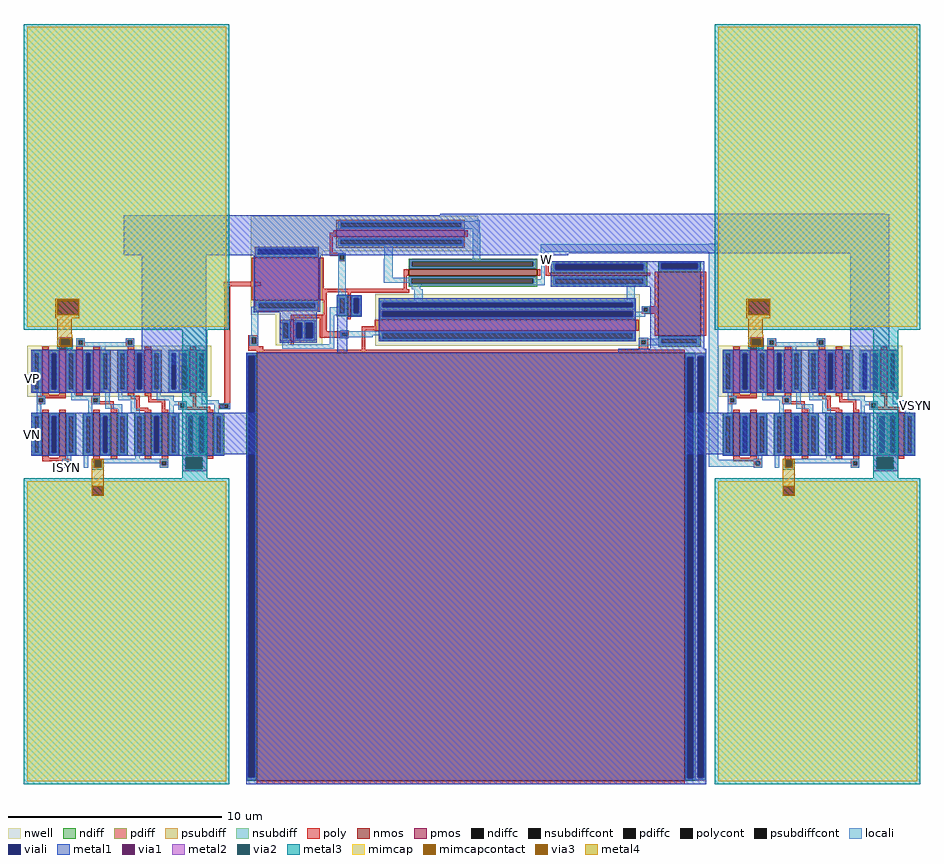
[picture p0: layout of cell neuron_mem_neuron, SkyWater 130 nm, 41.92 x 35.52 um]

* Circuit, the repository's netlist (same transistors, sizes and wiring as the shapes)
* NGSPICE file created from neuron_mem_neuron.ext - technology: sky130A

.subckt memristor_emulator_res W VN B A VP
X0 VN B a_n80_4020# VN sky130_fd_pr__nfet_01v8 ad=1 pd=5 as=1 ps=5 w=2 l=3
X1 VN a_n80_4020# VN VN sky130_fd_pr__nfet_01v8 ad=10 pd=41 as=23.8 ps=100 w=20 l=20
X2 VP A a_n80_4020# VP sky130_fd_pr__pfet_01v8 ad=1.5 pd=7 as=1.5 ps=7 w=3 l=2
X3 B a_n80_4020# A B sky130_fd_pr__pfet_01v8 ad=6 pd=25 as=6 ps=25 w=12 l=0.5
X4 VP A a_218_4108# VP sky130_fd_pr__pfet_01v8 ad=0.5 pd=3 as=0.5 ps=3 w=1 l=0.15
X5 a_742_5144# A B VN sky130_fd_pr__nfet_01v8 ad=3 pd=13 as=3 ps=13 w=6 l=0.3
X6 a_742_5144# a_218_4108# B VP sky130_fd_pr__pfet_01v8 ad=3 pd=13 as=3 ps=13 w=6 l=0.3
X7 VN A a_218_4108# VN sky130_fd_pr__nfet_01v8 ad=0.5 pd=3 as=0.5 ps=3 w=1 l=0.15
X8 VN W B VN sky130_fd_pr__nfet_01v8 ad=2.25 pd=10 as=2.25 ps=10 w=4.5 l=0.15
.ends

.subckt neuron VP VN ISYN VSYN CMEM CRST a_n150_n600#
X0 VN a_270_n40# CRST VN sky130_fd_pr__nfet_01v8 ad=0.5 pd=2.5 as=1 ps=5 w=2 l=0.3
X1 VP a_270_n40# CMEM VP sky130_fd_pr__pfet_01v8 ad=0.5 pd=2.5 as=0.5 ps=2.5 w=2 l=0.3
X2 a_970_n10# CRST VP VP sky130_fd_pr__pfet_01v8 ad=1 pd=5 as=0.5 ps=2.5 w=2 l=0.3
X3 CMEM a_n150_n600# VP VP sky130_fd_pr__pfet_01v8 ad=0.5 pd=2.5 as=0.5 ps=2.5 w=2 l=0.3
X4 VSYN a_970_n10# VN VN sky130_fd_pr__nfet_01v8 ad=1 pd=5 as=1 ps=5 w=2 l=0.3
X5 VP a_270_n40# CRST VP sky130_fd_pr__pfet_01v8 ad=0.5 pd=2.5 as=1 ps=5 w=2 l=0.3
X6 VSYN a_970_n10# VP VP sky130_fd_pr__pfet_01v8 ad=1 pd=5 as=1 ps=5 w=2 l=0.3
X7 VP a_n150_n600# a_n150_n600# VP sky130_fd_pr__pfet_01v8 ad=0.5 pd=2.5 as=1 ps=5 w=2 l=0.3
X8 a_270_n40# CMEM VN VN sky130_fd_pr__nfet_01v8 ad=1 pd=5 as=0.5 ps=2.5 w=2 l=0.3
X9 VN CRST CMEM VN sky130_fd_pr__nfet_01v8 ad=0.5 pd=2.5 as=1 ps=5 w=2 l=0.3
X10 VN ISYN a_n150_n600# VN sky130_fd_pr__nfet_01v8 ad=0.5 pd=2.5 as=1 ps=5 w=2 l=0.3
X11 a_270_n40# CMEM VP VP sky130_fd_pr__pfet_01v8 ad=1 pd=5 as=0.5 ps=2.5 w=2 l=0.3
X12 ISYN ISYN VN VN sky130_fd_pr__nfet_01v8 ad=1 pd=5 as=0.5 ps=2.5 w=2 l=0.3
X13 a_970_n10# CRST VN VN sky130_fd_pr__nfet_01v8 ad=1 pd=5 as=0.5 ps=2.5 w=2 l=0.3
.ends

.subckt neuron_top VSYN ISYN VN VP
Xneuron_0 VP VN ISYN VSYN neuron_0/CMEM neuron_0/CRST li_50_880# neuron
X0 neuron_0/CMEM VN sky130_fd_pr__cap_mim_m3_1 l=14 w=9.3
X1 neuron_0/CRST VN sky130_fd_pr__cap_mim_m3_1 l=14 w=9.3
.ends


Xmemristor_emulator_res_0 W VN neuron_top_1/ISYN neuron_top_0/VSYN VP memristor_emulator_res
Xneuron_top_0 neuron_top_0/VSYN ISYN VN VP neuron_top
Xneuron_top_1 VSYN neuron_top_1/ISYN VN VP neuron_top

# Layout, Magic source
magic
tech sky130A
<< poly >>
rect 2440 2450 2455 2452
rect 936 2326 1109 2348
rect 939 1780 966 2326
rect 912 1774 966 1780
rect 912 1757 920 1774
rect 956 1757 966 1774
rect 912 1752 966 1757
<< polycont >>
rect 920 1757 956 1774
<< locali >>
rect 3203 2523 3247 2524
rect 2418 2487 3247 2523
rect 2419 2359 2436 2487
rect 2394 2330 2436 2359
rect 912 1774 965 1780
rect 912 1757 920 1774
rect 956 1757 965 1774
rect 912 1752 965 1757
rect 3203 1515 3247 2487
rect 4165 1761 4167 1770
rect 3202 1483 3452 1515
rect 197 1479 204 1481
<< metal1 >>
rect 1947 2663 4024 2666
rect 1947 2658 4045 2663
rect 468 2480 4045 2658
rect 468 2472 2545 2480
rect 553 1960 855 2472
rect 42 1892 45 1896
rect 3864 1838 4045 2480
rect 42 1632 44 1636
rect 889 1540 4047 1734
use memristor_emulator_res  memristor_emulator_res_0
transform 1 0 1090 0 1 15
box -100 -15 2100 2641
use neuron_top  neuron_top_0
transform 1 0 17 0 1 1479
box -17 -1479 945 2073
use neuron_top  neuron_top_1
transform 1 0 3247 0 1 1479
box -17 -1479 945 2073
<< labels >>
rlabel metal1 42 1633 42 1633 1 VN
port 1 n
rlabel metal1 42 1893 42 1893 1 VP
port 2 n
rlabel locali 199 1480 199 1480 1 ISYN
port 3 n
rlabel poly 2444 2452 2444 2452 1 W
port 4 n
rlabel locali 4167 1768 4167 1768 1 VSYN
port 5 n
<< end >>

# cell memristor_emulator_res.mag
magic
tech sky130A
<< nwell >>
rect -27 2513 1035 2641
rect -28 2474 1035 2513
rect -28 2177 308 2474
rect 89 2036 307 2177
rect 554 2034 1790 2274
<< nmos >>
rect 710 2360 1310 2390
rect 1375 2360 1825 2375
rect 425 2170 440 2270
rect 1876 2079 2076 2379
rect 0 0 2000 2000
<< pmos >>
rect 371 2542 971 2572
rect -10 2245 290 2445
rect 159 2054 174 2154
rect 572 2104 1772 2154
<< ndiff >>
rect 710 2428 1310 2440
rect 710 2403 724 2428
rect 1293 2403 1310 2428
rect 710 2390 1310 2403
rect 1375 2413 1825 2425
rect 1375 2389 1395 2413
rect 1807 2389 1825 2413
rect 1375 2375 1825 2389
rect 1876 2419 2076 2429
rect 1876 2393 1890 2419
rect 2061 2393 2076 2419
rect 1876 2379 2076 2393
rect 710 2348 1310 2360
rect 710 2323 723 2348
rect 1292 2323 1310 2348
rect 710 2310 1310 2323
rect 1375 2347 1825 2360
rect 1375 2323 1395 2347
rect 1807 2323 1825 2347
rect 1375 2310 1825 2323
rect 375 2256 425 2270
rect 375 2184 388 2256
rect 412 2184 425 2256
rect 375 2170 425 2184
rect 440 2256 490 2270
rect 440 2184 453 2256
rect 477 2184 490 2256
rect 440 2170 490 2184
rect 1876 2066 2076 2079
rect 1876 2045 1890 2066
rect 2057 2045 2076 2066
rect 1876 2029 2076 2045
rect -50 1983 0 2000
rect -50 16 -38 1983
rect -10 16 0 1983
rect -50 0 0 16
rect 2000 1980 2050 2000
rect 2000 13 2012 1980
rect 2040 13 2050 1980
rect 2000 0 2050 13
<< pdiff >>
rect 371 2608 971 2622
rect 371 2588 393 2608
rect 955 2588 971 2608
rect 371 2572 971 2588
rect -10 2485 290 2495
rect -10 2460 5 2485
rect 275 2460 290 2485
rect -10 2445 290 2460
rect 371 2528 971 2542
rect 371 2508 390 2528
rect 957 2508 971 2528
rect 371 2492 971 2508
rect -10 2233 290 2245
rect -10 2208 10 2233
rect 274 2208 290 2233
rect -10 2195 290 2208
rect 572 2194 1772 2204
rect 109 2140 159 2154
rect 109 2068 125 2140
rect 148 2068 159 2140
rect 109 2054 159 2068
rect 174 2141 224 2154
rect 174 2068 185 2141
rect 213 2068 224 2141
rect 572 2169 587 2194
rect 1757 2169 1772 2194
rect 572 2154 1772 2169
rect 174 2054 224 2068
rect 572 2092 1772 2104
rect 572 2067 587 2092
rect 1757 2067 1772 2092
rect 572 2054 1772 2067
<< ndiffc >>
rect 724 2403 1293 2428
rect 1395 2389 1807 2413
rect 1890 2393 2061 2419
rect 723 2323 1292 2348
rect 1395 2323 1807 2347
rect 388 2184 412 2256
rect 453 2184 477 2256
rect 1890 2045 2057 2066
rect -38 16 -10 1983
rect 2012 13 2040 1980
<< pdiffc >>
rect 393 2588 955 2608
rect 5 2460 275 2485
rect 390 2508 957 2528
rect 10 2208 274 2233
rect 125 2068 148 2140
rect 185 2068 213 2141
rect 587 2169 1757 2194
rect 587 2067 1757 2092
<< psubdiff >>
rect 2050 1985 2100 2000
rect 2050 15 2060 1985
rect 2090 15 2100 1985
rect 2050 0 2100 15
<< nsubdiff >>
rect 572 2234 1772 2255
rect 572 2213 587 2234
rect 1757 2213 1772 2234
rect 572 2204 1772 2213
rect 224 2141 274 2154
rect 224 2068 230 2141
rect 261 2068 274 2141
rect 224 2054 274 2068
<< psubdiffcont >>
rect 2060 15 2090 1985
<< nsubdiffcont >>
rect 587 2213 1757 2234
rect 230 2068 261 2141
<< poly >>
rect 358 2561 371 2572
rect 340 2542 371 2561
rect 971 2542 985 2572
rect 340 2468 355 2542
rect 340 2460 417 2468
rect 340 2453 389 2460
rect -23 2245 -10 2445
rect 290 2299 313 2445
rect 381 2436 389 2453
rect 409 2436 417 2460
rect 381 2428 417 2436
rect 687 2360 710 2390
rect 1310 2360 1324 2390
rect 1350 2375 1365 2437
rect 1350 2360 1375 2375
rect 1825 2360 1838 2375
rect 687 2299 702 2360
rect 290 2298 702 2299
rect 290 2283 712 2298
rect 290 2245 327 2283
rect 425 2282 712 2283
rect 425 2270 440 2282
rect 312 2177 327 2245
rect 159 2167 327 2177
rect 1861 2219 1876 2379
rect 159 2162 328 2167
rect 159 2154 174 2162
rect -40 2073 7 2083
rect -40 2043 -24 2073
rect -2 2043 7 2073
rect 295 2100 328 2162
rect 425 2157 440 2170
rect 1799 2211 1876 2219
rect 1799 2193 1808 2211
rect 1828 2193 1876 2211
rect 1799 2183 1876 2193
rect 551 2125 572 2154
rect 490 2105 572 2125
rect 390 2100 430 2105
rect 295 2095 430 2100
rect 295 2078 398 2095
rect 422 2078 430 2095
rect 295 2071 430 2078
rect 390 2069 430 2071
rect -40 2030 7 2043
rect 159 2038 174 2054
rect -40 2015 30 2030
rect 490 2015 508 2105
rect 551 2104 572 2105
rect 1772 2104 1785 2154
rect 1861 2104 1876 2183
rect 1860 2080 1876 2104
rect 1861 2079 1876 2080
rect 2076 2079 2100 2379
rect 1785 2058 1830 2070
rect 1785 2041 1796 2058
rect 1818 2041 1830 2058
rect 1785 2015 1830 2041
rect -40 2010 2000 2015
rect 0 2000 2000 2010
rect 0 -15 2000 0
<< polycont >>
rect 389 2436 409 2460
rect -24 2043 -2 2073
rect 1808 2193 1828 2211
rect 398 2078 422 2095
rect 1796 2041 1818 2058
<< locali >>
rect 1020 2615 1043 2619
rect 380 2608 1043 2615
rect 380 2588 393 2608
rect 955 2588 1043 2608
rect 380 2580 1043 2588
rect 1010 2557 1043 2580
rect 380 2528 965 2535
rect 380 2508 390 2528
rect 957 2508 965 2528
rect 380 2500 965 2508
rect -5 2485 285 2491
rect -5 2460 5 2485
rect 275 2460 285 2485
rect -5 2450 285 2460
rect 381 2460 416 2468
rect 381 2436 389 2460
rect 409 2436 416 2460
rect 595 2439 635 2500
rect 381 2265 416 2436
rect 594 2351 636 2439
rect 1010 2435 1044 2557
rect 715 2428 1305 2435
rect 715 2403 724 2428
rect 1293 2403 1305 2428
rect 1882 2419 2070 2423
rect 715 2395 1305 2403
rect 1385 2414 1815 2418
rect 1385 2389 1395 2414
rect 1807 2389 1815 2414
rect 1385 2382 1815 2389
rect 1882 2393 1890 2419
rect 2061 2393 2070 2419
rect 1882 2385 2070 2393
rect 715 2351 1305 2355
rect 594 2348 1305 2351
rect 594 2328 723 2348
rect 715 2323 723 2328
rect 1292 2323 1305 2348
rect 715 2315 1305 2323
rect 1385 2347 1815 2353
rect 1385 2323 1395 2347
rect 1807 2323 1815 2347
rect 1385 2317 1815 2323
rect 725 2298 765 2315
rect 380 2256 420 2265
rect -5 2233 285 2240
rect -5 2215 10 2233
rect -25 2208 10 2215
rect 274 2208 285 2233
rect 380 2214 388 2256
rect -25 2200 285 2208
rect -25 2083 7 2200
rect 340 2184 388 2214
rect 412 2184 420 2256
rect 340 2176 420 2184
rect -35 2073 7 2083
rect -35 2043 -24 2073
rect -2 2043 7 2073
rect -35 2033 7 2043
rect 119 2140 154 2149
rect 119 2068 125 2140
rect 148 2068 154 2140
rect 119 2059 154 2068
rect 179 2141 269 2149
rect 179 2068 185 2141
rect 213 2068 230 2141
rect 261 2068 269 2141
rect 179 2059 269 2068
rect 119 2040 150 2059
rect 340 2040 363 2176
rect 380 2175 420 2176
rect 445 2256 485 2265
rect 445 2184 453 2256
rect 477 2184 485 2256
rect 735 2244 775 2298
rect 1730 2244 1767 2317
rect 577 2234 1767 2244
rect 577 2213 587 2234
rect 1757 2213 1767 2234
rect 577 2201 1767 2213
rect 445 2175 485 2184
rect 578 2194 1767 2201
rect 578 2168 587 2194
rect 1757 2193 1767 2194
rect 1799 2211 1837 2219
rect 1799 2193 1808 2211
rect 1828 2193 1837 2211
rect 1757 2184 1837 2193
rect 1757 2169 1815 2184
rect 1757 2168 1767 2169
rect 578 2159 1767 2168
rect 390 2100 430 2105
rect 390 2099 580 2100
rect 390 2095 1767 2099
rect 390 2078 398 2095
rect 422 2092 1767 2095
rect 422 2082 587 2092
rect 422 2078 542 2082
rect 390 2072 542 2078
rect 390 2069 430 2072
rect 577 2067 587 2082
rect 1757 2067 1767 2092
rect 577 2059 1767 2067
rect 1785 2065 1830 2070
rect 1881 2066 2068 2075
rect 1881 2065 1890 2066
rect 119 2020 363 2040
rect 1785 2058 1890 2065
rect 1785 2041 1796 2058
rect 1818 2045 1890 2058
rect 2057 2045 2068 2066
rect 1818 2041 2068 2045
rect 1785 2035 2068 2041
rect 1785 2030 1830 2035
rect -45 1986 -5 1995
rect -45 16 -40 1986
rect -10 16 -5 1986
rect -45 5 -5 16
rect 2005 1985 2095 1995
rect 2005 1980 2060 1985
rect 2005 13 2012 1980
rect 2040 15 2060 1980
rect 2090 15 2095 1985
rect 2040 13 2095 15
rect 2005 5 2095 13
<< viali >>
rect 5 2460 275 2485
rect 1395 2413 1807 2414
rect 1395 2389 1807 2413
rect 1890 2393 2061 2419
rect 185 2068 211 2141
rect 230 2068 261 2141
rect 453 2184 477 2256
rect 587 2213 1757 2234
rect 587 2169 1757 2194
rect 587 2168 1757 2169
rect -40 1983 -10 1986
rect -40 16 -38 1983
rect -38 16 -10 1983
rect 2012 13 2040 1980
rect 2060 15 2090 1985
<< metal1 >>
rect 234 2639 989 2641
rect -10 2495 989 2639
rect -13 2485 989 2495
rect -13 2460 5 2485
rect 275 2481 989 2485
rect 275 2460 298 2481
rect -13 2446 298 2460
rect -13 2192 297 2446
rect 1375 2419 2091 2429
rect 1375 2414 1890 2419
rect 1375 2389 1395 2414
rect 1807 2393 1890 2414
rect 2061 2393 2091 2419
rect 1807 2389 2091 2393
rect 1375 2310 2091 2389
rect 1839 2284 2091 2310
rect 377 2270 424 2271
rect 374 2256 490 2270
rect -13 2190 281 2192
rect 107 2141 281 2190
rect 374 2184 453 2256
rect 477 2184 490 2256
rect 374 2169 490 2184
rect 571 2234 1772 2255
rect 571 2213 587 2234
rect 1757 2213 1772 2234
rect 571 2194 1772 2213
rect 107 2068 185 2141
rect 211 2068 230 2141
rect 261 2068 281 2141
rect 107 2048 281 2068
rect 377 2000 424 2169
rect 571 2168 587 2194
rect 1757 2168 1772 2194
rect 571 2054 1772 2168
rect 1840 2019 2091 2284
rect 1690 2000 2100 2019
rect -50 1986 2100 2000
rect -50 16 -40 1986
rect -10 1985 2100 1986
rect -10 1980 2060 1985
rect -10 16 2012 1980
rect -50 13 2012 16
rect 2040 15 2060 1980
rect 2090 15 2100 1985
rect 2040 13 2100 15
rect -50 -15 2100 13
<< labels >>
rlabel poly 1358 2437 1358 2437 1 W
port 1 n
rlabel poly 2100 2083 2100 2083 3 B
port 3 e
rlabel metal1 2100 2010 2100 2010 7 VN
port 2 w
rlabel poly -23 2304 -23 2304 7 A
port 4 w
rlabel metal1 -13 2484 -13 2484 7 VP
port 5 w
<< end >>

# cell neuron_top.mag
magic
tech sky130A
<< locali >>
rect 148 601 208 608
rect 148 578 157 601
rect 199 578 208 601
rect 148 573 208 578
rect 186 535 208 573
rect 25 440 45 460
rect 900 275 920 295
rect 25 145 45 165
rect 175 0 195 20
rect 265 0 285 20
rect 310 10 319 20
rect 310 0 330 10
<< viali >>
rect 157 578 199 601
rect 319 10 341 31
<< metal1 >>
rect 148 604 208 608
rect 148 578 157 604
rect 199 578 208 604
rect 148 573 208 578
rect 25 440 44 460
rect 24 144 46 165
rect 725 49 841 58
rect 310 33 350 40
rect 310 7 315 33
rect 342 7 350 33
rect 310 0 350 7
rect 725 -9 740 49
rect 818 -9 841 49
rect 725 -17 841 -9
<< via1 >>
rect 157 601 199 604
rect 157 578 199 601
rect 315 31 342 33
rect 315 10 319 31
rect 319 10 341 31
rect 341 10 342 31
rect 315 7 342 10
rect 740 -9 818 49
<< metal2 >>
rect 148 604 208 608
rect 148 602 157 604
rect 199 602 208 604
rect 148 573 154 602
rect 201 573 208 602
rect 725 49 841 58
rect 310 36 350 40
rect 310 7 315 36
rect 344 7 350 36
rect 310 0 350 7
rect 725 -9 740 49
rect 818 -9 841 49
rect 725 -17 841 -9
<< via2 >>
rect 154 578 157 602
rect 157 578 199 602
rect 199 578 201 602
rect 154 573 201 578
rect 315 33 344 36
rect 315 7 342 33
rect 342 7 344 33
rect 740 -9 818 49
<< metal3 >>
rect -17 645 945 2073
rect 141 602 213 605
rect 141 566 154 602
rect 202 566 213 602
rect 141 556 213 566
rect 725 49 841 645
rect 301 36 357 40
rect 301 2 313 36
rect 346 2 357 36
rect 301 -10 357 2
rect 725 -9 740 49
rect 818 -9 841 49
rect 725 -51 841 -9
rect -16 -1479 944 -51
<< via3 >>
rect 154 573 201 602
rect 201 573 202 602
rect 154 566 202 573
rect 313 7 315 36
rect 315 7 344 36
rect 344 7 346 36
rect 313 2 346 7
<< mimcap >>
rect 0 783 930 2059
rect 0 714 140 783
rect 240 714 930 783
rect 0 659 930 714
rect 0 -88 930 -65
rect 0 -130 304 -88
rect 354 -130 930 -88
rect 0 -1465 930 -130
<< mimcapcontact >>
rect 140 714 240 783
rect 304 -130 354 -88
<< metal4 >>
rect 131 783 243 790
rect 131 714 140 783
rect 240 714 243 783
rect 131 697 243 714
rect 141 621 208 697
rect 140 620 209 621
rect 140 602 211 620
rect 140 566 154 602
rect 202 566 211 602
rect 142 565 211 566
rect 301 36 357 40
rect 301 2 313 36
rect 346 2 357 36
rect 301 -88 357 2
rect 301 -130 304 -88
rect 354 -130 357 -88
rect 301 -131 357 -130
use neuron  neuron_0
transform 1 0 95 0 1 355
box -95 -355 825 250
<< labels >>
rlabel locali 920 285 920 285 3 VSYN
port 1 e
rlabel locali 185 0 185 0 5 ISYN
port 2 s
rlabel metal1 25 155 25 155 3 VN
port 3 e
rlabel metal1 25 450 25 450 7 VP
port 4 w
<< end >>

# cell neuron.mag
magic
tech sky130A
<< nwell >>
rect -95 -25 765 215
<< nmos >>
rect -25 -300 5 -100
rect 55 -300 85 -100
rect 215 -300 245 -100
rect 295 -300 325 -100
rect 455 -300 485 -100
rect 535 -300 565 -100
rect 745 -300 775 -100
<< pmos >>
rect -25 -5 5 195
rect 55 -5 85 195
rect 135 -5 165 195
rect 215 -5 245 195
rect 375 -5 405 195
rect 455 -5 485 195
rect 665 -5 695 195
<< ndiff >>
rect -75 -115 -25 -100
rect -75 -285 -60 -115
rect -40 -285 -25 -115
rect -75 -300 -25 -285
rect 5 -115 55 -100
rect 5 -285 20 -115
rect 40 -285 55 -115
rect 5 -300 55 -285
rect 85 -115 135 -100
rect 85 -285 100 -115
rect 120 -285 135 -115
rect 85 -300 135 -285
rect 165 -115 215 -100
rect 165 -285 180 -115
rect 200 -285 215 -115
rect 165 -300 215 -285
rect 245 -115 295 -100
rect 245 -285 260 -115
rect 280 -285 295 -115
rect 245 -300 295 -285
rect 325 -115 375 -100
rect 325 -285 340 -115
rect 360 -285 375 -115
rect 325 -300 375 -285
rect 405 -115 455 -100
rect 405 -285 420 -115
rect 440 -285 455 -115
rect 405 -300 455 -285
rect 485 -115 535 -100
rect 485 -285 500 -115
rect 520 -285 535 -115
rect 485 -300 535 -285
rect 565 -115 615 -100
rect 565 -285 580 -115
rect 600 -285 615 -115
rect 565 -300 615 -285
rect 695 -115 745 -100
rect 695 -285 710 -115
rect 730 -285 745 -115
rect 695 -300 745 -285
rect 775 -115 825 -100
rect 775 -285 790 -115
rect 810 -285 825 -115
rect 775 -300 825 -285
<< pdiff >>
rect -75 180 -25 195
rect -75 10 -60 180
rect -40 10 -25 180
rect -75 -5 -25 10
rect 5 180 55 195
rect 5 10 20 180
rect 40 10 55 180
rect 5 -5 55 10
rect 85 180 135 195
rect 85 10 100 180
rect 120 10 135 180
rect 85 -5 135 10
rect 165 180 215 195
rect 165 10 180 180
rect 200 10 215 180
rect 165 -5 215 10
rect 245 180 295 195
rect 245 10 260 180
rect 280 10 295 180
rect 245 -5 295 10
rect 325 180 375 195
rect 325 10 340 180
rect 360 10 375 180
rect 325 -5 375 10
rect 405 180 455 195
rect 405 10 420 180
rect 440 10 455 180
rect 405 -5 455 10
rect 485 180 535 195
rect 485 10 500 180
rect 520 10 535 180
rect 485 -5 535 10
rect 615 180 665 195
rect 615 10 630 180
rect 650 10 665 180
rect 615 -5 665 10
rect 695 180 745 195
rect 695 10 710 180
rect 730 10 745 180
rect 695 -5 745 10
<< ndiffc >>
rect -60 -285 -40 -115
rect 20 -285 40 -115
rect 100 -285 120 -115
rect 180 -285 200 -115
rect 260 -285 280 -115
rect 340 -285 360 -115
rect 420 -285 440 -115
rect 500 -285 520 -115
rect 580 -285 600 -115
rect 710 -285 730 -115
rect 790 -285 810 -115
<< pdiffc >>
rect -60 10 -40 180
rect 20 10 40 180
rect 100 10 120 180
rect 180 10 200 180
rect 260 10 280 180
rect 340 10 360 180
rect 420 10 440 180
rect 500 10 520 180
rect 630 10 650 180
rect 710 10 730 180
<< psubdiff >>
rect 645 -115 695 -100
rect 645 -285 660 -115
rect 680 -285 695 -115
rect 645 -300 695 -285
<< nsubdiff >>
rect 565 180 615 195
rect 565 10 580 180
rect 600 10 615 180
rect 565 -5 615 10
<< psubdiffcont >>
rect 660 -285 680 -115
<< nsubdiffcont >>
rect 580 10 600 180
<< poly >>
rect 135 240 175 250
rect 135 220 145 240
rect 165 220 175 240
rect 135 210 175 220
rect 365 240 405 250
rect 365 220 375 240
rect 395 220 405 240
rect 365 210 405 220
rect -25 195 5 210
rect 55 195 85 210
rect 135 195 165 210
rect 215 195 245 210
rect 375 195 405 210
rect 455 195 485 210
rect 665 195 695 210
rect -25 -15 5 -5
rect 55 -15 85 -5
rect -25 -20 85 -15
rect 135 -20 165 -5
rect 215 -20 245 -5
rect 375 -20 405 -5
rect 455 -20 485 -5
rect 665 -20 695 -5
rect -50 -30 85 -20
rect 205 -30 245 -20
rect -50 -50 -40 -30
rect -20 -50 -10 -30
rect -50 -60 -10 -50
rect 205 -50 215 -30
rect 235 -45 245 -30
rect 390 -35 430 -20
rect 235 -50 310 -45
rect 205 -60 310 -50
rect 295 -85 310 -60
rect 415 -75 430 -35
rect 470 -35 485 -20
rect 470 -50 550 -35
rect 415 -85 470 -75
rect 535 -85 550 -50
rect 610 -55 650 -45
rect 610 -75 620 -55
rect 640 -70 650 -55
rect 680 -70 695 -20
rect 640 -75 760 -70
rect 610 -85 760 -75
rect -25 -100 5 -85
rect 55 -100 85 -85
rect 215 -100 245 -85
rect 295 -100 325 -85
rect 415 -90 485 -85
rect 455 -100 485 -90
rect 535 -100 565 -85
rect 745 -100 775 -85
rect -25 -310 5 -300
rect 55 -310 85 -300
rect -25 -315 85 -310
rect 215 -315 245 -300
rect 295 -315 325 -300
rect 455 -315 485 -300
rect 535 -315 565 -300
rect 745 -315 775 -300
rect -25 -325 110 -315
rect 70 -345 80 -325
rect 100 -345 110 -325
rect 70 -355 110 -345
rect 215 -325 255 -315
rect 215 -345 225 -325
rect 245 -345 255 -325
rect 215 -355 255 -345
rect 525 -325 565 -315
rect 525 -345 535 -325
rect 555 -345 565 -325
rect 525 -355 565 -345
<< polycont >>
rect 145 220 165 240
rect 375 220 395 240
rect -40 -50 -20 -30
rect 215 -50 235 -30
rect 620 -75 640 -55
rect 80 -345 100 -325
rect 225 -345 245 -325
rect 535 -345 555 -325
<< locali >>
rect 135 240 175 250
rect 135 220 145 240
rect 165 230 175 240
rect 365 240 405 250
rect 365 230 375 240
rect 165 220 375 230
rect 395 220 405 240
rect 135 210 405 220
rect 250 190 270 210
rect -70 180 -30 190
rect -70 10 -60 180
rect -40 10 -30 180
rect -70 0 -30 10
rect 10 180 50 190
rect 10 10 20 180
rect 40 10 50 180
rect 10 0 50 10
rect 90 180 130 190
rect 90 10 100 180
rect 120 10 130 180
rect 90 0 130 10
rect 170 180 210 190
rect 170 10 180 180
rect 200 10 210 180
rect 170 0 210 10
rect 250 180 290 190
rect 250 10 260 180
rect 280 10 290 180
rect 250 0 290 10
rect -50 -20 -30 0
rect 110 -20 130 0
rect -50 -30 -10 -20
rect -50 -50 -40 -30
rect -20 -50 -10 -30
rect 110 -30 245 -20
rect 110 -40 215 -30
rect -50 -60 -10 -50
rect 190 -50 215 -40
rect 235 -50 245 -30
rect 190 -60 245 -50
rect 270 -60 290 0
rect 330 180 370 190
rect 330 10 340 180
rect 360 10 370 180
rect 330 0 370 10
rect 410 180 450 190
rect 410 10 420 180
rect 440 10 450 180
rect 410 0 450 10
rect 490 180 530 190
rect 490 10 500 180
rect 520 10 530 180
rect 490 0 530 10
rect 570 180 660 190
rect 570 10 580 180
rect 600 10 630 180
rect 650 10 660 180
rect 570 0 660 10
rect 700 180 740 190
rect 700 10 710 180
rect 730 10 740 180
rect 700 0 740 10
rect 330 -20 350 0
rect 510 -20 530 0
rect 330 -40 410 -20
rect 510 -40 590 -20
rect -50 -105 -30 -60
rect 190 -105 210 -60
rect 270 -80 350 -60
rect 330 -105 350 -80
rect 390 -80 410 -40
rect 570 -45 590 -40
rect 720 -40 740 0
rect 570 -55 650 -45
rect 570 -65 620 -55
rect 390 -100 430 -80
rect 410 -105 430 -100
rect 570 -105 590 -65
rect 610 -75 620 -65
rect 640 -75 650 -55
rect 720 -60 800 -40
rect 610 -85 650 -75
rect 780 -80 825 -60
rect 780 -105 800 -80
rect -70 -115 -30 -105
rect -70 -285 -60 -115
rect -40 -285 -30 -115
rect -70 -295 -30 -285
rect 10 -115 50 -105
rect 10 -285 20 -115
rect 40 -285 50 -115
rect 10 -295 50 -285
rect 90 -115 130 -105
rect 90 -285 100 -115
rect 120 -285 130 -115
rect 90 -295 130 -285
rect 170 -115 210 -105
rect 170 -285 180 -115
rect 200 -285 210 -115
rect 170 -295 210 -285
rect 250 -115 290 -105
rect 250 -285 260 -115
rect 280 -285 290 -115
rect 250 -295 290 -285
rect 330 -115 370 -105
rect 330 -285 340 -115
rect 360 -285 370 -115
rect 330 -295 370 -285
rect 410 -115 450 -105
rect 410 -285 420 -115
rect 440 -285 450 -115
rect 410 -295 450 -285
rect 490 -115 530 -105
rect 490 -285 500 -115
rect 520 -285 530 -115
rect 490 -295 530 -285
rect 570 -115 610 -105
rect 570 -285 580 -115
rect 600 -285 610 -115
rect 570 -295 610 -285
rect 650 -115 740 -105
rect 650 -285 660 -115
rect 680 -285 710 -115
rect 730 -285 740 -115
rect 650 -295 740 -285
rect 780 -115 820 -105
rect 780 -285 790 -115
rect 810 -285 820 -115
rect 780 -295 820 -285
rect 90 -315 110 -295
rect 70 -325 110 -315
rect 70 -345 80 -325
rect 100 -345 110 -325
rect 70 -355 110 -345
rect 170 -355 190 -295
rect 410 -315 430 -295
rect 215 -325 565 -315
rect 215 -345 225 -325
rect 245 -335 535 -325
rect 245 -345 255 -335
rect 215 -355 255 -345
rect 525 -345 535 -335
rect 555 -345 565 -325
rect 525 -355 565 -345
<< viali >>
rect 20 10 40 180
rect 180 10 200 180
rect 420 10 440 180
rect 580 10 600 180
rect 630 10 650 180
rect 20 -285 40 -115
rect 260 -285 280 -115
rect 500 -285 520 -115
rect 660 -285 680 -115
rect 710 -285 730 -115
<< metal1 >>
rect -75 180 745 195
rect -75 10 20 180
rect 40 10 180 180
rect 200 10 420 180
rect 440 10 580 180
rect 600 10 630 180
rect 650 10 745 180
rect -75 -5 745 10
rect -75 -115 825 -100
rect -75 -285 20 -115
rect 40 -285 260 -115
rect 280 -285 500 -115
rect 520 -285 660 -115
rect 680 -285 710 -115
rect 730 -285 825 -115
rect -75 -300 825 -285
<< labels >>
rlabel metal1 -70 95 -70 95 7 VP
port 1 w
rlabel metal1 -70 -200 -70 -200 7 VN
port 2 w
rlabel locali 825 -70 825 -70 3 VSYN
port 4 e
rlabel locali 90 -355 90 -355 5 ISYN
port 3 s
rlabel locali 180 -355 180 -355 5 CMEM
port 5 s
rlabel locali 225 -355 225 -355 5 CRST
port 6 s
<< end >>
